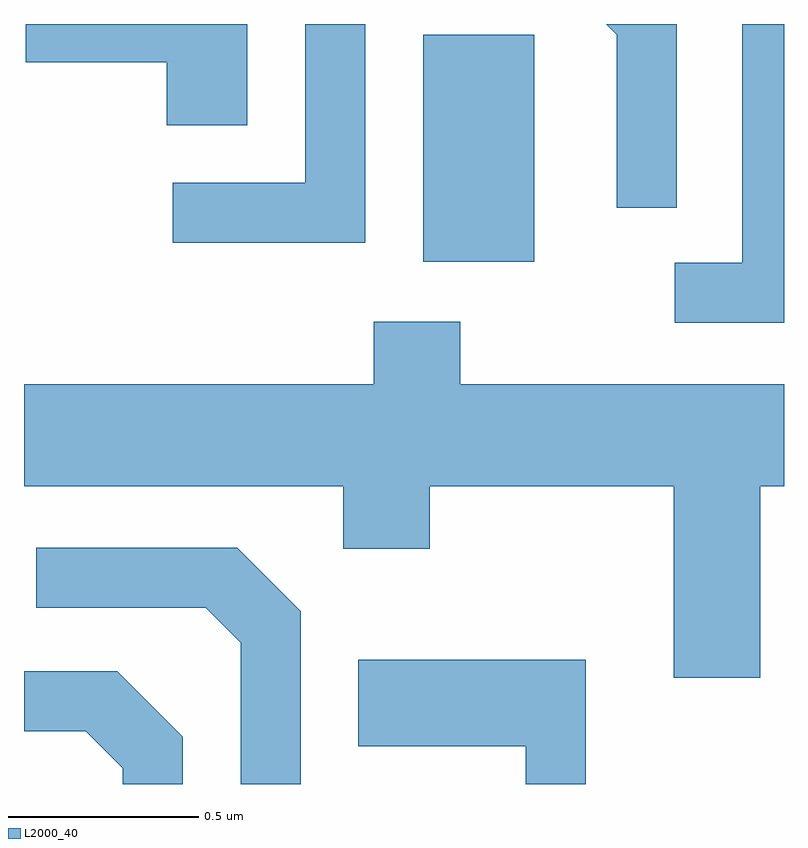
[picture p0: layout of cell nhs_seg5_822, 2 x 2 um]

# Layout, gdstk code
import gdstk
lib = gdstk.Library(unit=1e-6, precision=1e-09)
def R(c, l, rs):  # rectangles x0, y0, x1, y1
    for r in rs: c.add(gdstk.rectangle(r[:2], r[2:], *l))
def P(c, l, *ps):  # polygons
    for p in ps: c.add(gdstk.Polygon(p, *l))
L2000_40 = (2000, 40)

nhs_seg5_822 = lib.new_cell('nhs_seg5_822')
R(nhs_seg5_822, L2000_40, [(192.661,1397.446,192.954,1398.044)])
P(nhs_seg5_822, L2000_40, [(192.199,1398.072),(191.616,1398.072),(191.616,1397.971),(191.986,1397.971),(191.986,1397.806),(192.199,1397.806)],
  [(193.611,1398.072),(193.501,1398.072),(193.501,1397.444),(193.323,1397.444),(193.323,1397.286),(193.611,1397.286)],
  [(192.509,1398.072),(192.351,1398.072),(192.351,1397.654),(192.003,1397.654),(192.003,1397.496),(192.509,1397.496)],
  [(193.329,1398.072),(193.143,1398.072),(193.171,1398.044),(193.171,1397.588),(193.329,1397.588)],
  [(193.549,1396.856),(193.611,1396.856),(193.611,1397.124),(192.759,1397.124),(192.759,1397.289),(192.531,1397.289),(192.531,1397.124),(191.611,1397.124),(191.611,1396.856),(192.451,1396.856),(192.451,1396.691),(192.679,1396.691),(192.679,1396.856),(193.321,1396.856),(193.321,1396.351),(193.549,1396.351)],
  [(192.339,1396.527),(192.172,1396.694),(191.643,1396.694),(191.643,1396.536),(192.089,1396.536),(192.181,1396.444),(192.181,1396.072),(192.339,1396.072)],
  [(193.089,1396.399),(192.491,1396.399),(192.491,1396.171),(192.931,1396.171),(192.931,1396.072),(193.089,1396.072)],
  [(192.029,1396.197),(191.857,1396.369),(191.611,1396.369),(191.611,1396.211),(191.774,1396.211),(191.871,1396.114),(191.871,1396.072),(192.029,1396.072)])

lib.write_gds('nhs_seg5_822.gds')
